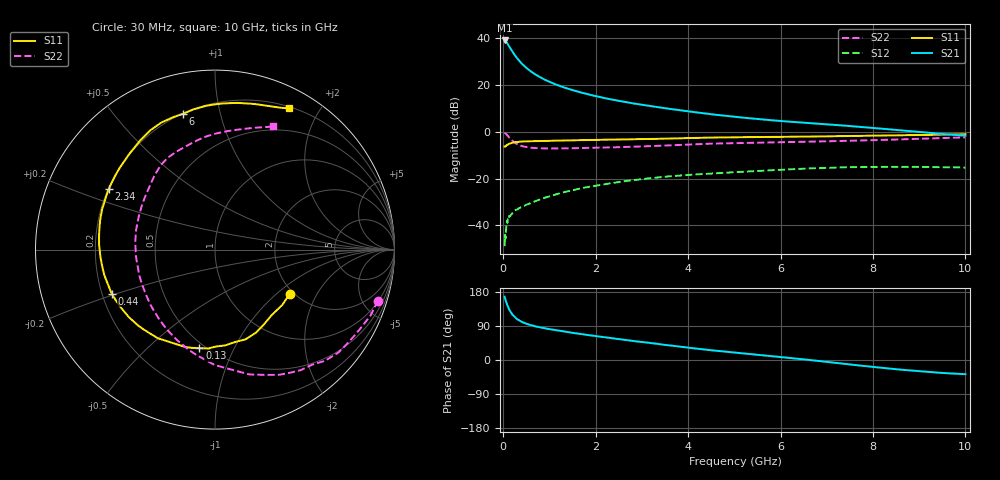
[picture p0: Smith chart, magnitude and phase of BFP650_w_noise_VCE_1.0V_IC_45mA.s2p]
! Infineon Technologies  Discrete & RF Semiconductors
! BFP650
! VCE =  1.0 V,  IC =  45 mA
! Common Emitter S-Parameters:  Jan 2016
# GHz  S  MA  R  50
!  f  S11  S21  S12  S22
! GHz  MAG  ANG  MAG  ANG  MAG  ANG  MAG  ANG
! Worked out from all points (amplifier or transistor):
!   229 points, 30 MHz to 10 GHz, reference 50 ohm
!   highest |S21| = 39.1 dB at 30 MHz (marker M1)
!   |S21| within 3 dB of that: start of sweep to 142.3 MHz
!   unconditionally stable (mu >= 1): 1.918 GHz to end of sweep
!   at 280 MHz: K = 0.44, MSG = 32.7 dB, |S12| = -33.3 dB
!   at 1.78 GHz: K = 0.99, MSG = 20.0 dB, |S12| = -23.8 dB
!   at 10 GHz: K = 1.03, MAG = 5.7 dB, |S12| = -15.3 dB
!   lowest NFmin = 0.91 dB at 450 MHz
!   S11 on the Smith chart (normalised r, x): 30 MHz: 1.91, -1.23; 130 MHz: 0.47, -0.74; 440 MHz: 0.24, -0.19; 2.34 GHz: 0.20, +0.26; 6 GHz: 0.20, +0.77; 10 GHz: 0.22, +1.64
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0.03  0.4838 -30.6  89.89 167.0  0.0036 74.2  0.9511 -17.4
0.04  0.4855 -39.3  88.99 162.6  0.0063 81.4  0.9414 -22.9
0.05  0.4827 -49.2  86.41 158.2  0.0053 70.2  0.9201 -29.0
0.06  0.4992 -57.3  85.12 154.8  0.008 60.2  0.9064 -34.5
0.08  0.5284 -71.4  80.08 147.4  0.0124 72.1  0.8717 -45.3
0.1  0.5371 -84.2  74.75 141.1  0.0136 65.0  0.8237 -54.7
0.13  0.5552 -99.0  66.54 133.0  0.016 57.1  0.7552 -67.5
0.15  0.5675 -107.1  61.8 128.6  0.0158 56.3  0.7208 -74.7
0.2  0.5876 -122.8  51.52 119.5  0.0185 49.6  0.6429 -90.2
0.26  0.6022 -135.6  42.3 111.9  0.0213 47.2  0.5776 -104.6
0.34  0.6141 -147.1  33.53 104.8  0.0232 47.2  0.5247 -119.2
0.44  0.6248 -156.9  26.43 98.5  0.0257 47.3  0.4861 -132.9
0.6  0.633 -167.1  19.51 91.7  0.0301 48.8  0.4576 -148.1
0.9  0.6416 -178.9  13 83.6  0.0391 51.3  0.4417 -165.9
1.7  0.665 161.9  6.86 68.3  0.0627 48.7  0.4506 168.6
2.34  0.6813 150.1  4.933 57.8  0.08 43.7  0.465 154.9
3.4  0.7116 133.2  3.311 41.5  0.1077 33.2  0.5049 136.8
5.1  0.7689 111.8  2.053 18.5  0.1388 16.7  0.5775 115.9
6  0.7773 103.2  1.705 7.7  0.1545 8.4  0.5996 105.1
6.8  0.7969 95.7  1.499 -2.2  0.1676 -0.2  0.6225 97.4
8.4  0.8368 76.3  1.123 -23.2  0.1785 -17.8  0.6808 79.2
10  0.8897 62.2  0.826 -37.5  0.1726 -30.1  0.7609 64.7
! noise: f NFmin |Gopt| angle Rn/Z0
0.45  0.91  0.13  169  1.13
0.9  0.93  0.39  -168  0.06
1.9  1.08  0.43  -154  0.06
2.4  1.16  0.42  -145  0.07
3.5  1.37  0.44  -121  0.13
